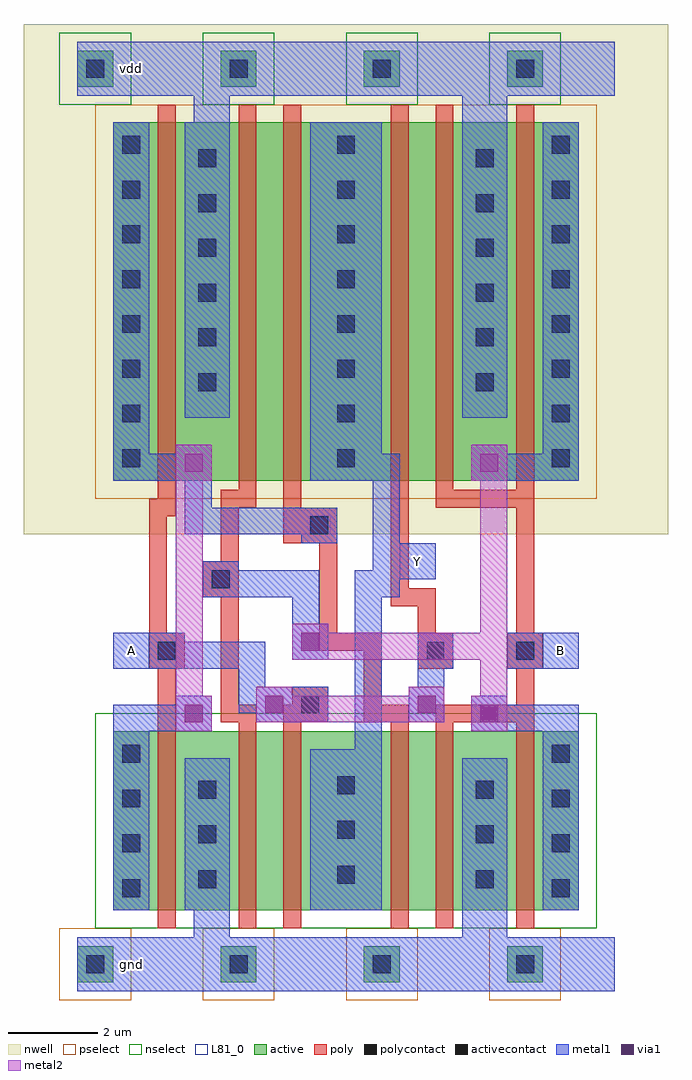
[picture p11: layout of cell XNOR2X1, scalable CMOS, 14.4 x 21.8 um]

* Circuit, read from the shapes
.subckt XNOR2X1 A B Y gnd vdd
M1 gnd A n1 gnd nfet w=4u l=0.4u
M2 n2 n3 gnd gnd nfet w=4u l=0.4u
M3 Y A n2 gnd nfet w=4u l=0.4u
M4 n4 n1 Y gnd nfet w=4u l=0.4u
M5 gnd B n4 gnd nfet w=4u l=0.4u
M6 n3 B gnd gnd nfet w=4u l=0.4u
M7 vdd A n1 vdd pfet w=8u l=0.4u
M8 n5 n3 vdd vdd pfet w=8u l=0.4u
M9 Y n1 n5 vdd pfet w=8u l=0.4u
M10 n6 A Y vdd pfet w=8u l=0.4u
M11 vdd B n6 vdd pfet w=8u l=0.4u
M12 n3 B vdd vdd pfet w=8u l=0.4u
.ends

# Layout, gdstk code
import gdstk
lib = gdstk.Library(unit=1e-6, precision=1e-09)
def R(c, l, rs):  # rectangles x0, y0, x1, y1
    for r in rs: c.add(gdstk.rectangle(r[:2], r[2:], *l))
def A(c, l, x, y, w, h, nx, ny, dx, dy):  # array of equal rectangles
    R(c, l, [(x+i*dx, y+j*dy, x+i*dx+w, y+j*dy+h) for i in range(nx) for j in range(ny)])
nwell = (42, 0)
active = (43, 0)
pselect = (44, 0)
nselect = (45, 0)
poly = (46, 0)
polycontact = (47, 0)
activecontact = (48, 0)
metal1 = (49, 0)
via1 = (50, 0)
metal2 = (51, 0)
L81_0 = (81, 0)

xnor2x1 = lib.new_cell('XNOR2X1')
R(xnor2x1, nwell, [(-1.6,9.6,12.8,21)])
A(xnor2x1, active, -0.4, -0.4, 0.8, 0.8, 4, 2, 3.2, 20)
R(xnor2x1, active, [(0.4,1.2,10.8,5.2), (0.4,10.8,10.8,18.8)])
A(xnor2x1, pselect, -0.8, -0.8, 1.6, 1.6, 4, 1, 3.2, 0)
R(xnor2x1, pselect, [(0,10.4,11.2,19.2)])
A(xnor2x1, nselect, -0.8, 19.2, 1.6, 1.6, 4, 1, 3.2, 0)
R(xnor2x1, nselect, [(0,0.8,11.2,5.6)])
R(xnor2x1, poly, [(1.4,0.8,1.8,6.6), (3.2,0.8,3.6,5.4), (4.2,0.8,4.6,5.4), (6.6,0.8,7,5.4), (7.6,0.8,8,5.4), (9.4,0.8,9.8,5.4), (2.8,5.4,3.6,5.8), (4.2,5.4,5.2,5.8), (6,5.4,7,5.8), (7.6,5.4,9.8,5.8), (2.8,5.8,3.2,8.2), (4.4,5.8,5.2,6.2), (6,5.8,6.4,7), (9.4,5.8,9.8,6.6), (1.2,6.6,2,7.4), (7.2,6.6,8,7.4), (9.2,6.6,10,7.4), (5,7,6.4,7.4), (1.2,7.4,1.6,10), (5,7.4,5.4,9.4), (7.2,7.4,7.6,8), (9.4,7.4,9.8,10.2), (6.6,8,7.6,8.4), (2.4,8.2,3.2,9), (6.6,8.4,7,19.2), (2.8,9,3.2,10.2), (4.2,9.4,5.4,10.2), (1.2,10,1.8,10.4), (2.8,10.2,3.6,10.6), (4.2,10.2,4.6,19.2), (7.6,10.2,9.8,10.6), (1.4,10.4,1.8,19.2), (3.2,10.6,3.6,19.2), (7.6,10.6,8,19.2), (9.4,10.6,9.8,19.2)])
R(xnor2x1, polycontact, [(4.6,5.6,5,6), (1.4,6.8,1.8,7.2), (7.4,6.8,7.8,7.2), (9.4,6.8,9.8,7.2), (2.6,8.4,3,8.8), (4.8,9.6,5.2,10)])
A(xnor2x1, activecontact, -0.2, -0.2, 0.4, 0.4, 4, 2, 3.2, 20)
A(xnor2x1, activecontact, 0.6, 1.5, 0.4, 0.4, 1, 4, 0, 1)
A(xnor2x1, activecontact, 10.2, 1.5, 0.4, 0.4, 1, 4, 0, 1)
A(xnor2x1, activecontact, 2.3, 1.7, 0.4, 0.4, 1, 3, 0, 1)
A(xnor2x1, activecontact, 8.5, 1.7, 0.4, 0.4, 1, 3, 0, 1)
A(xnor2x1, activecontact, 5.4, 1.8, 0.4, 0.4, 1, 3, 0, 1)
A(xnor2x1, activecontact, 0.6, 11.1, 0.4, 0.4, 3, 8, 4.8, 1)
A(xnor2x1, activecontact, 2.3, 12.8, 0.4, 0.4, 1, 6, 0, 1)
A(xnor2x1, activecontact, 8.5, 12.8, 0.4, 0.4, 1, 6, 0, 1)
R(xnor2x1, metal1, [(-0.4,-0.6,11.6,0.6), (2.2,0.6,3,1.2), (8.2,0.6,9.2,4.6), (0.4,1.2,1.2,5.2), (2,1.2,3,4.6), (4.8,1.2,6.4,4.8), (10,1.2,10.8,5.2), (5.8,4.8,6.4,8.2), (0.4,5.2,2.6,5.8), (8.4,5.2,10.8,5.8), (3.6,5.4,5.2,5.6), (7,5.4,7.8,6.2), (3.2,5.6,5.2,6.2), (1.8,5.8,2.6,6), (8.4,5.8,9.2,6), (3.2,6.2,3.8,6.6), (7.2,6.2,7.8,6.6), (0.4,6.6,3.8,7.2), (7.2,6.6,8,7.4), (9.2,6.6,10.8,7.4), (4.4,6.8,5.2,7.6), (0.4,7.2,2,7.4), (4.4,7.6,5,8.2), (2.4,8.2,5,8.8), (5.8,8.2,6.8,8.6), (5.8,8.6,7.6,8.8), (2.4,8.8,3.2,9), (6.2,8.8,7.6,9.4), (4.6,9.4,5.4,9.6), (6.2,9.4,6.8,10.8), (2,9.6,5.4,10.2), (2,10.2,2.6,10.8), (0.4,10.8,2.6,11.4), (4.8,10.8,6.8,11.4), (8.4,10.8,10.8,11.4), (0.4,11.4,1.2,18.8), (1.8,11.4,2.6,11.6), (4.8,11.4,6.4,18.8), (8.4,11.4,9.2,11.6), (10,11.4,10.8,18.8), (2,12.2,3,18.8), (8.2,12.2,9.2,19.4), (2.2,18.8,3,19.4), (-0.4,19.4,11.6,20.6)])
R(xnor2x1, via1, [(2,5.4,2.4,5.8), (8.6,5.4,9,5.8), (3.8,5.6,4.2,6), (7.2,5.6,7.6,6), (4.6,7,5,7.4), (2,11,2.4,11.4), (8.6,11,9,11.4)])
R(xnor2x1, metal2, [(1.8,5.2,2.6,6), (8.4,5.2,9.2,6), (3.6,5.4,7.8,6), (1.8,6,2.4,10.8), (3.6,6,4.4,6.2), (7,6,7.8,6.2), (8.6,6,9.2,6.8), (4.4,6.8,9.2,7.4), (4.4,7.4,5.2,7.6), (8.6,7.4,9.2,10.8), (1.8,10.8,2.6,11.6), (8.4,10.8,9.2,11.6)])
R(xnor2x1, L81_0, [(0.4,6.6,1.2,7.4), (10,6.6,10.8,7.4), (6.8,8.6,7.6,9.4)])
xnor2x1.add(gdstk.Label('A', (0.8,7), layer=109, texttype=0))
xnor2x1.add(gdstk.Label('B', (10.4,7), layer=109, texttype=0))
xnor2x1.add(gdstk.Label('gnd', (0.8,0), layer=109, texttype=0))
xnor2x1.add(gdstk.Label('vdd', (0.8,20), layer=109, texttype=0))
xnor2x1.add(gdstk.Label('Y', (7.2,9), layer=109, texttype=0))

lib.write_gds('XNOR2X1.gds')
